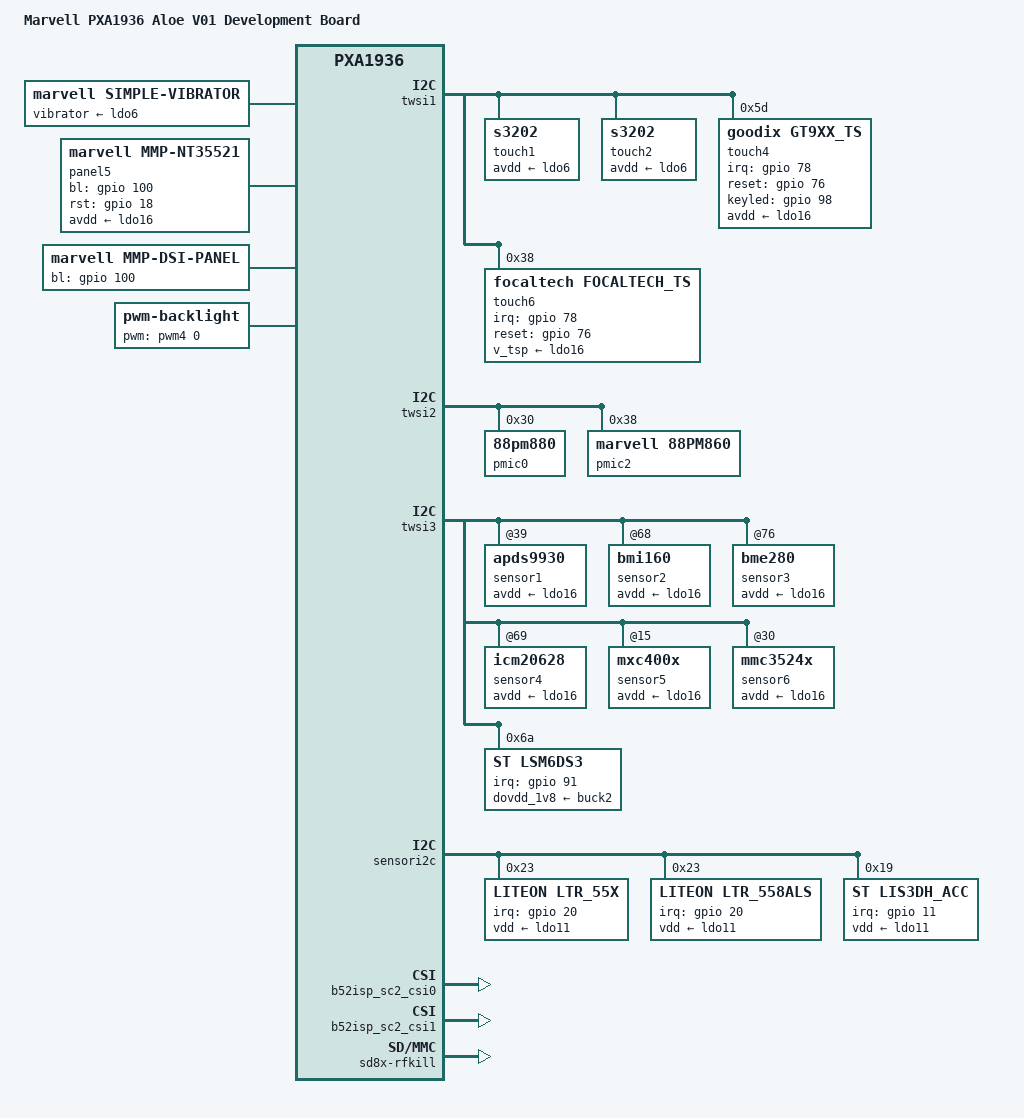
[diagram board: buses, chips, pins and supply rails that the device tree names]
/*
 *  Copyright (C) 2014 Marvell Technology Group Ltd.
 *  Author: Yi Zhang <yizhang@marvell.com>
 *
 *  This program is free software; you can redistribute it and/or modify
 *  it under the terms of the GNU General Public License version 2 as
 *  publishhed by the Free Software Foundation.
 */

/dts-v1/;
#include "pxa1936-board-common.dtsi"

&pmx {
	mfp_pins_group_0: mfp_pins_group_0 {
		pinctrl-single,pins = <
			DF_IO9 AF0
			DF_IO10 AF0
			DF_IO11 AF0
			DF_IO12 AF0
			DF_IO13 AF0
			DF_IO15 AF0
		>;
		DS_MEDIUM;PULL_DOWN;EDGE_NONE;LPM_NONE;
	};

	mfp_pins_group_2: mfp_pins_group_2 {
		pinctrl-single,pins = <
			GPIO12 AF0
			GPIO13 AF0
			GPIO14 AF0
			GPIO15 AF0
		>;
		DS_MEDIUM;PULL_UP;EDGE_NONE;LPM_NONE;
	};

	disp_func: disp_func {
		pinctrl-single,pins = <
			DF_IO8	AF4
		>;
		MFP_LPM_PULL_DW;
	};

	touch_pins_aloe: touch_pins_aloe {
		pinctrl-single,pins = <
			GPIO76 AF0
			GPIO78 AF0
			GPIO98 AF0
		 >;
		 MFP_LPM_FLOAT;
	 };

	sdh1_pmx_func3: sdh1_pmx_func3 {
		pinctrl-single,pins = <
			GPIO97 AF0
		>;
		DS_MEDIUM;PULL_FLOAT;EDGE_NONE;LPM_NONE;
	};

	sdh0_pmx_func1: sdh0_pmx_func1 {
		pinctrl-single,pins = <
			MMC1_DAT7 AF0
			MMC1_DAT6 AF0
			MMC1_DAT5 AF0
			MMC1_DAT4 AF0
			MMC1_WP AF1
			MMC1_CD AF1 /* Above pins not used by sdh1, configured as GPIO */
			GPIO50 AF0 /* GPIO50, used for sd card detect */
		>;
		MFP_DEFAULT;
	};
};

&disp {
	pinctrl-0 = <&disp_func>;
};
/ {
	model = "Marvell PXA1936 Aloe V01 Development Board";
	compatible = "marvell,pxa1936-dkb", "marvell,pxa1936";
	soc {
		axi@d4200000 {  /* AXI */
			sdh0: sdh@d4280000 {
				cd-gpios = <&gpio 50 0>;
			};
		};
		apb@d4000000 {
			twsi1: i2c@d4010800 {
				touch1: s3202@720p {
					avdd-supply = <&ldo6>;
				};

				touch2: s3202@1080p {
					avdd-supply = <&ldo6>;
				};
				touch4: goodix_ts@5d {
					compatible = "goodix,gt9xx_ts";
					pinctrl-names = "default"; pinctrl-0 = <&touch_pins_aloe>;
					reg = <0x5d>;
					interrupt-parent = <&gpio>;
					interrupts = <78 0x1>;
					irq-gpios = <&gpio 78 0>;
					reset-gpios = <&gpio 76 0>;
					keyled_gpios = <&gpio 98 0>;
					goodix,cfg-group = <0>;
					goodix,max-height = <1280>;
					goodix,max-width = <720>;
					avdd-supply = <&ldo16>;
					goodix,cfg-group0 = [
						41 D0 02 00 05 05 35 01 01 08 28
						0F 50 32 03 05 00 00 FF 7F 00 00
						00 17 19 1D 14 8B 2B 0D 2D 2B 0F
						0A 03 14 00 82 33 1D 28 01 00 00
						00 00 00 32 00 14 7A 23 3C 94 C5
						02 07 00 00 04 A1 24 00 96 29 00
						8B 2D 00 82 33 00 7A 38 00 7A 18
						38 58 00 F0 4A 3A FF FF 27 00 00
						00 00 00 00 00 00 00 00 00 00 00
						0F 19 03 05 15 42 F8 0F 0F 30 00
						46 32 02 04 06 08 0A 0C 0E 10 12
						14 16 18 1A FF 00 00 00 00 00 00
						00 00 00 00 00 00 00 00 00 00 16
						18 1C 1D 1E 1F 20 21 22 24 26 00
						02 04 06 08 0A 0C 0F 10 12 13 FF
						FF FF FF 00 00 00 FF FF FF FF FF
						FF FF FF FF FF FF FF FF 33 01];
					goodix,cfg-group1 = [
                                               41 38 04 80 07 05 35 01 01 08 28 0F
                                               50 32 03 05 00 00 FF 7F 00 00 00 17
                                               19 1D 14 8B 2B 0D 2D 2B 0F 0A 03 14
                                               00 82 33 1D 28 01 00 00 00 00 00 32
                                               00 14 7A 23 3C 94 C5 02 07 00 00 04
                                               A1 24 00 96 29 00 8B 2D 00 82 33 00
                                               7A 38 00 7A 18 38 58 00 F0 4A 3A FF
                                               FF 27 00 00 00 00 00 00 00 00 00 00
                                               00 00 00 0F 19 03 05 15 42 F8 0F 0F
                                               30 00 46 32 02 04 06 08 0A 0C 0E 10
                                               12 14 16 18 1A FF 00 00 00 00 00 00
                                               00 00 00 00 00 00 00 00 00 00 16 18
                                               1C 1D 1E 1F 20 21 22 24 26 00 02 04
                                               06 08 0A 0C 0F 10 12 13 FF FF FF FF
                                               00 00 00 FF FF FF FF FF FF FF FF FF
                                               FF FF FF FF 47 01];
					status = "okay";
				};
				touch6: ft5x0x_ts@38 {
					compatible = "focaltech,focaltech_ts";
					pinctrl-names = "default"; pinctrl-0 = <&touch_pins_aloe>;
					reg = <0x38>;
					interrupt-parent = <&gpio>;
					interrupts = <78 0x1>;
					focaltech,abs-x-max = <1080>;
					focaltech,abs-y-max = <1920>;
					irq-gpios = <&gpio 78 0>;
					reset-gpios = <&gpio 76 0>;
					focaltech,v_tsp-supply = <&ldo16>;
					focaltech,virtualkeys = <
						540 2000 40 40
					>;
					status = "okay";
				};

			};

			twsi2: i2c@d4037000 {
				status = "okay";

				pmic0: 88pm880@30 {
					reg = <0x30>;
					interrupts = <0 4 IRQ_TYPE_LEVEL_HIGH>;
					interrupt-parent = <&gic>;

					dvc {
						pinctrl-names = "default";
						pinctrl-0 = <&dvc_pmx_func>;
					};

					/*
					 * TODO: remove later, fake ldo,
					 * to pass compile
					 */
					ldo19: regulator-ldo19 {
					};
				};

				pmic2: 88pm860@38 {
					compatible = "marvell,88pm860";
					reg = <0x38>;
					marvell,pmic-type = <1>;
					/* no codec_int currently, comment out now */
					/*
					interrupt-parent = <&gpio>;
					interrupts = <124 0x1>;
					marvell,88pm805-irq-write-clear;
					*/
					pm860_codec: pm860_codec {
						compatible = "marvell,88pm860-codec";
						#dailink-cells = <1>;
					};
				};
			};
			twsi3: i2c@d4013800 {
				status = "okay";
				sensor1: apds9930@39 {
					avdd-supply = <&ldo16>;
					};
				sensor2: bmi160@68 {
					avdd-supply = <&ldo16>;
					};

				sensor3: bme280@76 {
					avdd-supply = <&ldo16>;
					};
				sensor4: icm20628@69 {
					avdd-supply = <&ldo16>;
					};
				sensor5: mxc400x@15 {
					avdd-supply = <&ldo16>;
					};
				sensor6: mmc3524x@30 {
					avdd-supply = <&ldo16>;
					};
				lsm6ds3@6a {
					compatible = "ST,lsm6ds3";
					reg = <0x6a>;
					interrupts = <91 0x0>;
					irq-gpios = <&gpio 91 0>;
					interrupt-parent = <&gpio>;
					dovdd_1v8-supply = <&buck2>;
					st,drdy-int-pin = <1>;
					};
			};
			sensori2c: i2c-gpio@8{
				ltr_55x@23 {
					compatible = "LITEON,ltr_55x";
					reg = <0x23>;
					interrupt-parent = <&gpio>;
					interrupts = <20 0x1>;
					irq-gpios = <&gpio 20 0>;
					vdd-supply = <&ldo11>;
					ps-threshold = <650>;
					ps-hysteresis-threshold = <500>;
					als-polling-time = <200>;
					status = "okay";
				};

				ltr_558als@23 {
					compatible = "LITEON,ltr_558als";
					pinctrl-names = "default"; pinctrl-0 = <&sensor_pins>;
					reg = <0x23>;
					interrupt-parent = <&gpio>;
					interrupts = <20 0x1>;
					irq-gpios = <&gpio 20 0>;
					vdd-supply = <&ldo11>;
					ps-threshold = <650>;
					ps-hysteresis-threshold = <500>;
					als-polling-time = <200>;
					prox_name = "proximity";
					als_name = "als";
					status = "okay";
				};

				lis3dh_acc@19 {
					compatible = "ST,lis3dh_acc";
					reg = <0x19>;
					interrupt-parent = <&gpio>;
					interrupts = <11 0x1>;
					irq-gpios = <&gpio 11 0>;
					vdd-supply = <&ldo11>;
					poll_interval = <10>;
					min_interval = <10>;
					g_range = <0x0>;
					axis_map_y = <0>;
					axis_map_x = <1>;
					axis_map_z = <2>;
					negate_x = <0>;
					negate_y = <0>;
					negate_z = <1>;
					status = "okay";
				};

			};
			map@d1200000 {
				pmic-name = "88pm880";
				vccmain-supply = <&buck1aslp>;
			};
		};

		axi@d4200000 {  /* AXI */
			/* SD card */
			sdh0: sdh@d4280000 {
			      vqmmc-supply    = <&ldo10>;
			      vmmc-supply     = <&ldo14>;
			};
		};
	};

	vibrator {
		compatible = "marvell,simple-vibrator";
		min_timeout = <0>;
		vibrator-supply = <&ldo6>;
		status = "okay";
	};

	panel1: r63311 {
		rst_gpio = <&gpio 98 0>;
		power_gpio = <&gpio 96 0>;
		marvell,mipi-backlight;
		status = "disabled";
	};
	panel2: hx8394 {
		rst_gpio = <&gpio 98 0>;
		avdd-supply = <&ldo6>;
		status = "disabled";
	};

	panel3: lg4591 {
		rst_gpio = <&gpio 98 0>;
		avdd-supply = <&ldo6>;
		status = "disabled";
	};

	panel5: nt35521 {
		compatible = "marvell,mmp-nt35521";
		marvell,path-name = "mmp_pnpath";
		bl_gpio = <&gpio 100 0>;
		panel_id = <0x21>;
		rst_gpio = <&gpio 18 0>;
		avdd-supply = <&ldo16>;
		marvell,mipi-backlight;
		status = "okay";
	};

	panel: mmp-dsi-panel {
	       compatible = "marvell,mmp-dsi-panel";
	       marvell,path-name = "mmp_pnpath";
	       /*
		* BACKLIGHT CONTROL BY GPIO
		*/
	       bl_gpio = <&gpio 100 0>;
	       panel_esd = <2>;
	       marvell,dsi-panel-num = <3>;
	       status = "okay";
	};

	backlight: pwm_bl {
		compatible = "pwm-backlight";
		pwms = <&pwm4 0 50000>;
		brightness-levels = <
		 0  1   2   3   4   5   6   7   8   9  10  11  12  13  14  15  16  17  18  19  20  21  22  23  24  25  26  27  28  29  30
		   31  32  33  34  35  36  37  38  39  40  41  42  43  44  45  46  47  48  49  50  51  52  53  54  55  56  57  58  59  60
		   61  62  63  64  65  66  67  68  69  70  71  72  73  74  75  76  77  78  79  80  81  82  83  84  85  86  87  88  89  90
		   91  92  93  94  95  96  97  98  99 100 101 102 103 104 105 106 107 108 109 110 111 112 113 114 115 116 117 118 119 120
                  121 122 123 124 125 126 127 128 129 130 131 132 133 134 135 136 137 138 139 140 141 142 143 144 145 146 147 148 149 150
                  151 152 153 154 155 156 157 158 159 160 161 162 163 164 165 166 167 168 169 170 171 172 173 174 175 176 177 178 179 180
	          181 182 183 184 185 186 187 188 189 190 191 192 193 194 195 196 197 198 199 200 201 202 203 204 205 206 207 208 209 210
		  211 212 213 214 215 216 217 218 219 220 221 222 223 224 225 226 227 228 229 230 231 232 233 234 235 236 237 238 239 240
		  241 242 243 244 245 246 247 248 249 250 251 252 253 254 255
		>;
		default-brightness-level = <24>;
		status = "okay";
	};

	mmp_m3_1: apsenhb {
		pmicver = <2>;
		vm3pwr-supply = <&ldo3>;
		vccmain-supply = <&buck1aslp>;
	};

	mmp_m3_2: cm3senhb {
		pmicver = <2>;
		vm3pwr-supply = <&ldo3>;
		senpwr-supply = <&ldo16>;
		vccmain-supply = <&buck1aslp>;
	};

	mcam0:mcam@0 {
		sc2-i2c-dyn-ctrl;
		pwdn-gpios = <&gpio 68 0>;
		reset-gpios = <&gpio 67 0>;
		/*
		af_2v8-supply = <&ldo10>;
		avdd_2v8-supply = <&ldo11>;
		dovdd_1v8-supply = <&voutsw>;
		dvdd_1v2-supply = <&ldo12>;
		*/
		dphy_val = <0xff1d00 0x00024733 0x04001001>;
		status = "disable";
	};

	mcam1:mcam@1 {
		sc2-i2c-dyn-ctrl;
		pwdn-gpios = <&gpio 70 0>;
		reset-gpios = <&gpio 69 0>;

		af_2v8-supply = <&ldo8>;
		avdd_2v8-supply = <&ldo7>;
		dovdd_1v8-supply = <&buck2>;
		dvdd_1v2-supply = <&ldo17>;

		dphy_val = <0xff1d00 0x00024733 0x04001001>;
		status = "okay";
	};

	soc-camera@0 {
		status = "okay";
	};

	soc-camera@1 {
		status = "okay";
	};

	plat_cam {
		status = "okay";
		frontsensor {
			compatible = "marvell,frontsensor";
			#address-cells = <1>;
			#size-cells = <0>;
			status = "okay";
			OV2680f: sensor@0 {
				compatible = "ovt,ov2680";
				status = "okay";
				clocks = <&soc_clocks PXA1936_CLK_SC2_MCLK>;
				clock-names =  "SC2MCLK";
				reg = <0x38>;
				sc2-i2c-dyn-ctrl;
				adapter = <0x1>;
				sensor-pos = <1>;
				mclk = <26000000>;
				dphy3 = <0x1900>;
				dphy5 = <0x4711>;
				dphy6 = <0x1001>;
				af_2v8-supply = <&ldo8>;
				avdd_2v8-supply = <&ldo7>;
				dovdd_1v8-supply = <&buck2>;
				dvdd_1v2-supply = <&ldo17>;
				pwdn-gpios = <&gpio 70 1>;
				reset-gpios = <&gpio 69 1>;
			};
                       S5K5E3F: sensor@1 {
                               compatible = "samsung,s5k5e3";
                               status = "okay";
                               reg = <0x10>;
                               clocks = <&soc_clocks PXA1936_CLK_SC2_MCLK>;
                               clock-names = "SC2MCLK";
                               sc2-i2c-dyn-ctrl;
                               adapter = <0x1>;
                               sensor-pos = <1>;
                               mclk = <26000000>;
                               dphy3 = <0x5100>;
                               dphy5 = <0xff>;
                               dphy6 = <0x1001>;
                               af_2v8-supply = <&ldo8>;
                               avdd_2v8-supply = <&ldo7>;
                               dovdd_1v8-supply = <&buck2>;
                               dvdd_1v2-supply = <&ldo17>;
                               pwdn-gpios = <&gpio 70 1>;
                               reset-gpios = <&gpio 69 1>;
                       };
			OV8858R2A_F: sensor@2 {
				compatible = "ovt,ov8858r2a_front";
				status = "okay";
				reg = <0x10>;
				clocks = <&soc_clocks PXA1936_CLK_SC2_MCLK>;
				clock-names = "SC2MCLK";
				sc2-i2c-dyn-ctrl;
				adapter = <0x1>;
				sensor-pos = <1>;
				mclk = <26000000>;
				dphy3 = <0x1500>;
				dphy5 = <0xff>;
				dphy6 = <0x1001>;
				af_2v8-supply = <&ldo8>;
				avdd_2v8-supply = <&ldo7>;
				dovdd_1v8-supply = <&ldo4>;
				dvdd_1v2-supply = <&ldo17>;
				pwdn-gpios = <&gpio 70 1>;
				reset-gpios = <&gpio 69 1>;
			};

		};
		backsensor {
			compatible = "marvell,backsensor";
			#address-cells = <1>;
			#size-cells = <0>;
			status = "okay";

			OV5642: sensor@0 {
				compatible = "ovt,ov5642";
				sensor-name = "ovt,ov5642";
				reg = <0x3c>;
				clocks = <&soc_clocks PXA1936_CLK_SC2_MCLK>;
				clock-names = "SC2MCLK";
				adapter = <0x1>;
				status = "okay";
				mclk = <24000000>;
				sensor-pos = <1>;
				dphy3 = <0x1500>;
				dphy5 = <0xff>;
				dphy6 = <0x1001>;
				/*
				af_2v8-supply = <&ldo10>;
				avdd_2v8-supply = <&ldo11>;
				dovdd_1v8-supply = <&voutsw>;
				dvdd_1v2-supply = <&ldo12>;
				*/
				pwdn-gpios = <&gpio 68 1>;
				reset-gpios = <&gpio 67 1>;
			};
			OV13850: sensor@1 {
				compatible = "ovt,ov13850";
				status = "okay";
				reg = <0x10>;
				clocks = <&soc_clocks PXA1936_CLK_SC2_MCLK>;
				clock-names = "SC2MCLK";
				sc2-i2c-dyn-ctrl;
				adapter = <0x1>;
				sensor-pos = <1>;
				mclk = <24000000>;
				dphy3 = <0xff4115>;
				dphy5 = <0x247ff>;
				dphy6 = <0x4001001>;
				af_2v8-supply = <&ldo8>;
				avdd_2v8-supply = <&ldo7>;
				dovdd_1v8-supply = <&buck2>;
				dvdd_1v2-supply = <&ldo17>;
				pwdn-gpios = <&gpio 68 1>;
				reset-gpios = <&gpio 67 1>;
			};
			SR544: sensor@2 {
				compatible = "samsung,sr544";
				status = "okay";
				reg = <0x28>;
				clocks = <&soc_clocks PXA1936_CLK_SC2_MCLK>;
				clock-names = "SC2MCLK";
				sc2-i2c-dyn-ctrl;
				adapter = <0x1>;
				sensor-pos = <1>;
				mclk = <26000000>;
				dphy3 = <0x1500>;
				dphy5 = <0xff>;
				dphy6 = <0x1001>;
				af_2v8-supply = <&ldo8>;
				avdd_2v8-supply = <&ldo7>;
				dovdd_1v8-supply = <&buck2>;
				dvdd_1v2-supply = <&ldo17>;
				pwdn-gpios = <&gpio 68 1>;
				reset-gpios = <&gpio 67 1>;
			};
			imx219: sensor@3 {
				compatible = "sony,imx219";
				status = "okay";
				reg = <0x1A>;
				clocks = <&soc_clocks PXA1936_CLK_SC2_MCLK>;
				clock-names = "SC2MCLK";
				sc2-i2c-dyn-ctrl;
				adapter = <0x1>;
				sensor-pos = <1>;
				mclk = <26000000>;
				dphy3 = <0x1500>;
				dphy5 = <0xff>;
				dphy6 = <0x1001>;
				af_2v8-supply = <&ldo8>;
				avdd_2v8-supply = <&ldo7>;
				dovdd_1v8-supply = <&buck2>;
				dvdd_1v2-supply = <&ldo17>;
				pwdn-gpios = <&gpio 68 1>;
				reset-gpios = <&gpio 67 1>;
			};
			OV13850R2A: sensor@4 {
				compatible = "ovt,ov13850r2a";
				status = "okay";
				reg = <0x36>;
				clocks = <&soc_clocks PXA1936_CLK_SC2_MCLK>;
				clock-names = "SC2MCLK";
				sc2-i2c-dyn-ctrl;
				adapter = <0x1>;
				sensor-pos = <1>;
				mclk = <24000000>;
				dphy3 = <0xff4116>;
				dphy5 = <0x247ff>;
				dphy6 = <0x4001001>;
				af_2v8-supply = <&ldo8>;
				avdd_2v8-supply = <&ldo7>;
				dovdd_1v8-supply = <&ldo4>;
				dvdd_1v2-supply = <&ldo17>;
				pwdn-gpios = <&gpio 68 1>;
				reset-gpios = <&gpio 67 1>;
			};
			S5K3L2: sensor@5 {
				compatible = "samsung,s5k3l2";
				status = "okay";
				reg = <0x2d>;
				clocks = <&soc_clocks PXA1936_CLK_SC2_MCLK>;
				clock-names = "SC2MCLK";
				sc2-i2c-dyn-ctrl;
				adapter = <0x1>;
				sensor-pos = <1>;
				mclk = <26000000>;
				dphy3 = <0xff4115>;
				dphy5 = <0x247ff>;
				dphy6 = <0x4001001>;
				af_2v8-supply = <&ldo8>;
				avdd_2v8-supply = <&ldo7>;
				dovdd_1v8-supply = <&buck2>;
				dvdd_1v2-supply = <&ldo17>;
				pwdn-gpios = <&gpio 68 1>;
				reset-gpios = <&gpio 67 1>;
			};
			S5K5E3B: sensor@6 {
                                compatible = "samsung,s5k5e3";
                                status = "okay";
                                reg = <0x10>;
                                clocks = <&soc_clocks PXA1936_CLK_SC2_MCLK>;
                                clock-names = "SC2MCLK";
                                sc2-i2c-dyn-ctrl;
                                adapter = <0x1>;
                                sensor-pos = <1>;
                                mclk = <26000000>;
                                dphy3 = <0x5100>;
                                dphy5 = <0xff>;
                                dphy6 = <0x1001>;
                                af_2v8-supply = <&ldo8>;
                                avdd_2v8-supply = <&ldo7>;
                                dovdd_1v8-supply = <&buck2>;
                                dvdd_1v2-supply = <&ldo17>;
				pwdn-gpios = <&gpio 68 1>;
				reset-gpios = <&gpio 67 1>;
			};
			OV5648: sensor@7 {
				compatible = "ovt,ov5648";
				status = "okay";
				reg = <0x36>;
				clocks = <&soc_clocks PXA1936_CLK_SC2_MCLK>;
				clock-names = "SC2MCLK";
				sc2-i2c-dyn-ctrl;
				adapter = <0x1>;
				sensor-pos = <1>;
				mclk = <26000000>;
				dphy3 = <0x1500>;
				dphy5 = <0xff>;
				dphy6 = <0x1001>;
				af_2v8-supply = <&ldo8>;
				avdd_2v8-supply = <&ldo7>;
				dovdd_1v8-supply = <&buck2>;
				dvdd_1v5-supply = <&ldo17>;
				pwdn-gpios = <&gpio 68 1>;
				reset-gpios = <&gpio 67 1>;
			};
			OV8858R2A: sensor@8 {
				compatible = "ovt,ov8858r2a";
				status = "okay";
				reg = <0x10>;
				clocks = <&soc_clocks PXA1936_CLK_SC2_MCLK>;
				clock-names = "SC2MCLK";
				sc2-i2c-dyn-ctrl;
				adapter = <0x1>;
				sensor-pos = <1>;
				mclk = <26000000>;
				dphy3 = <0x1500>;
				dphy5 = <0xff>;
				dphy6 = <0x1001>;
				af_2v8-supply = <&ldo8>;
				avdd_2v8-supply = <&ldo7>;
				dovdd_1v8-supply = <&buck2>;
				dvdd_1v2-supply = <&ldo17>;
				pwdn-gpios = <&gpio 68 1>;
				reset-gpios = <&gpio 67 1>;
			};
		};
	};

	b52isp_sc2_csi0 {
	        status = "okay";
	};
	b52isp_sc2_csi1 {
			csi_mux_repacked;
	        status = "okay";
	};
	b52isp_sc2_dma0 {
	        status = "okay";
	};
	b52isp_sc2_dma1 {
	        status = "okay";
	};

	sd8x-rfkill {
		sd-host = <&sdh1>;
		pd-gpio = <&gpio 97 0>;
		wib_1v8-supply = <&buck2>;
		wib_3v3-supply = <&buck5>;
		edge-wakeup-gpio = <&gpio 39 0>;
		marvell,sdh-tuning-dvfs;
		status = "okay";
	};
};

#include "88pm88x.dtsi"
#include "88pm880.dtsi"
#include "88pm88x_battery_common.dtsi"
#include "88pm88x_battery_485760ar.dtsi"
#include "88pm880_pxa1936_aloe_v01.dtsi"
#include "pxa1936-panel-r63315-l180_linlong.dtsi"
#include "pxa1936-panel-nt35521-tft.dtsi"
